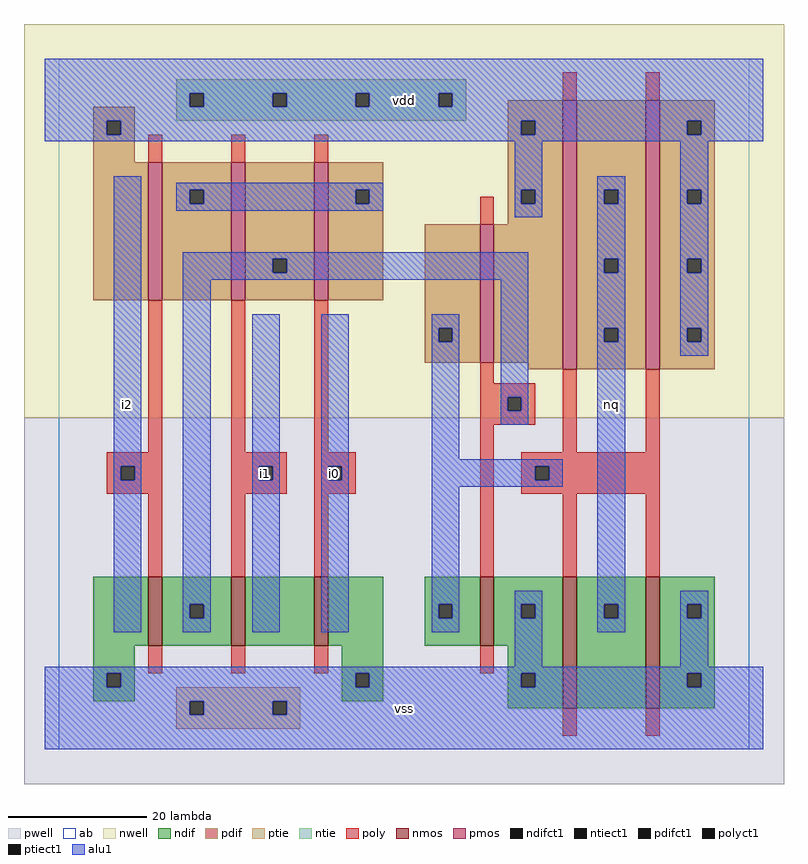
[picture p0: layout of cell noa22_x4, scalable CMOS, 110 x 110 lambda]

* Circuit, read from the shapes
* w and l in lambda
.subckt noa22_x4 i0 i1 i2 nq vdd vss
M1 n1 i2 vss vss nfet w=10 l=2
M2 n2 i1 n1 vss nfet w=10 l=2
M3 vss i0 n2 vss nfet w=10 l=2
M4 vss n1 n3 vss nfet w=10 l=2
M5 nq n3 vss vss nfet w=19 l=2 m=2
M6 n4 i2 vdd vdd pfet w=20 l=2
M7 n1 i1 n4 vdd pfet w=20 l=2
M8 n4 i0 n1 vdd pfet w=20 l=2
M9 vdd n1 n3 vdd pfet w=20 l=2
M10 nq n3 vdd vdd pfet w=39 l=2 m=2
.ends

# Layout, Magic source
magic
tech scmos
<< ab >>
rect 0 0 100 100
<< nwell >>
rect -5 48 105 105
<< pwell >>
rect -5 -5 105 48
<< poly >>
rect 73 94 75 98
rect 85 94 87 98
rect 13 85 15 89
rect 25 85 27 89
rect 37 85 39 89
rect 61 76 63 80
rect 13 43 15 65
rect 7 41 15 43
rect 7 39 9 41
rect 11 39 15 41
rect 7 37 15 39
rect 13 25 15 37
rect 25 43 27 65
rect 37 43 39 65
rect 61 53 63 56
rect 61 51 69 53
rect 61 49 65 51
rect 67 49 69 51
rect 61 47 69 49
rect 25 41 33 43
rect 25 39 29 41
rect 31 39 33 41
rect 25 37 33 39
rect 37 41 43 43
rect 37 39 39 41
rect 41 39 43 41
rect 37 37 43 39
rect 25 25 27 37
rect 37 25 39 37
rect 61 25 63 47
rect 73 43 75 55
rect 85 43 87 55
rect 67 41 87 43
rect 67 39 69 41
rect 71 39 87 41
rect 67 37 87 39
rect 73 25 75 37
rect 85 25 87 37
rect 13 11 15 15
rect 25 11 27 15
rect 37 11 39 15
rect 61 11 63 15
rect 73 2 75 6
rect 85 2 87 6
<< ndif >>
rect 5 15 13 25
rect 15 21 25 25
rect 15 19 19 21
rect 21 19 25 21
rect 15 15 25 19
rect 27 15 37 25
rect 39 15 47 25
rect 53 21 61 25
rect 53 19 55 21
rect 57 19 61 21
rect 53 15 61 19
rect 63 21 73 25
rect 63 19 67 21
rect 69 19 73 21
rect 63 15 73 19
rect 5 11 11 15
rect 41 11 47 15
rect 65 11 73 15
rect 5 9 7 11
rect 9 9 11 11
rect 41 9 43 11
rect 45 9 47 11
rect 5 7 11 9
rect 41 7 47 9
rect 65 9 67 11
rect 69 9 73 11
rect 65 6 73 9
rect 75 21 85 25
rect 75 19 79 21
rect 81 19 85 21
rect 75 6 85 19
rect 87 21 95 25
rect 87 19 91 21
rect 93 19 95 21
rect 87 11 95 19
rect 87 9 91 11
rect 93 9 95 11
rect 87 6 95 9
<< pdif >>
rect 5 91 11 93
rect 65 91 73 94
rect 5 89 7 91
rect 9 89 11 91
rect 65 89 67 91
rect 69 89 73 91
rect 5 85 11 89
rect 5 65 13 85
rect 15 81 25 85
rect 15 79 19 81
rect 21 79 25 81
rect 15 65 25 79
rect 27 71 37 85
rect 27 69 31 71
rect 33 69 37 71
rect 27 65 37 69
rect 39 81 47 85
rect 39 79 43 81
rect 45 79 47 81
rect 65 81 73 89
rect 39 65 47 79
rect 65 79 67 81
rect 69 79 73 81
rect 65 76 73 79
rect 53 61 61 76
rect 53 59 55 61
rect 57 59 61 61
rect 53 56 61 59
rect 63 56 73 76
rect 68 55 73 56
rect 75 81 85 94
rect 75 79 79 81
rect 81 79 85 81
rect 75 71 85 79
rect 75 69 79 71
rect 81 69 85 71
rect 75 61 85 69
rect 75 59 79 61
rect 81 59 85 61
rect 75 55 85 59
rect 87 91 95 94
rect 87 89 91 91
rect 93 89 95 91
rect 87 81 95 89
rect 87 79 91 81
rect 93 79 95 81
rect 87 71 95 79
rect 87 69 91 71
rect 93 69 95 71
rect 87 61 95 69
rect 87 59 91 61
rect 93 59 95 61
rect 87 55 95 59
<< alu1 >>
rect -2 95 102 100
rect -2 93 19 95
rect 21 93 31 95
rect 33 93 43 95
rect 45 93 55 95
rect 57 93 102 95
rect -2 91 102 93
rect -2 89 7 91
rect 9 89 67 91
rect 69 89 91 91
rect 93 89 102 91
rect -2 88 102 89
rect 8 41 12 83
rect 17 81 47 82
rect 17 79 19 81
rect 21 79 43 81
rect 45 79 47 81
rect 17 78 47 79
rect 66 81 70 88
rect 66 79 67 81
rect 69 79 70 81
rect 66 77 70 79
rect 78 81 82 83
rect 78 79 79 81
rect 81 79 82 81
rect 8 39 9 41
rect 11 39 12 41
rect 8 17 12 39
rect 18 71 68 72
rect 18 69 31 71
rect 33 69 68 71
rect 18 68 68 69
rect 18 21 22 68
rect 18 19 19 21
rect 21 19 22 21
rect 18 17 22 19
rect 28 41 32 63
rect 28 39 29 41
rect 31 39 32 41
rect 28 17 32 39
rect 38 41 42 63
rect 38 39 39 41
rect 41 39 42 41
rect 38 17 42 39
rect 54 61 58 63
rect 54 59 55 61
rect 57 59 58 61
rect 54 42 58 59
rect 64 51 68 68
rect 64 49 65 51
rect 67 49 68 51
rect 64 47 68 49
rect 78 71 82 79
rect 78 69 79 71
rect 81 69 82 71
rect 78 61 82 69
rect 78 59 79 61
rect 81 59 82 61
rect 54 41 73 42
rect 54 39 69 41
rect 71 39 73 41
rect 54 38 73 39
rect 54 21 58 38
rect 54 19 55 21
rect 57 19 58 21
rect 54 17 58 19
rect 66 21 70 23
rect 66 19 67 21
rect 69 19 70 21
rect 66 12 70 19
rect 78 21 82 59
rect 90 81 94 88
rect 90 79 91 81
rect 93 79 94 81
rect 90 71 94 79
rect 90 69 91 71
rect 93 69 94 71
rect 90 61 94 69
rect 90 59 91 61
rect 93 59 94 61
rect 90 57 94 59
rect 78 19 79 21
rect 81 19 82 21
rect 78 17 82 19
rect 90 21 94 23
rect 90 19 91 21
rect 93 19 94 21
rect 90 12 94 19
rect -2 11 102 12
rect -2 9 7 11
rect 9 9 43 11
rect 45 9 67 11
rect 69 9 91 11
rect 93 9 102 11
rect -2 7 102 9
rect -2 5 19 7
rect 21 5 31 7
rect 33 5 102 7
rect -2 0 102 5
<< ptie >>
rect 17 7 35 9
rect 17 5 19 7
rect 21 5 31 7
rect 33 5 35 7
rect 17 3 35 5
<< ntie >>
rect 17 95 59 97
rect 17 93 19 95
rect 21 93 31 95
rect 33 93 43 95
rect 45 93 55 95
rect 57 93 59 95
rect 17 91 59 93
<< nmos >>
rect 13 15 15 25
rect 25 15 27 25
rect 37 15 39 25
rect 61 15 63 25
rect 73 6 75 25
rect 85 6 87 25
<< pmos >>
rect 13 65 15 85
rect 25 65 27 85
rect 37 65 39 85
rect 61 56 63 76
rect 73 55 75 94
rect 85 55 87 94
<< polyct1 >>
rect 9 39 11 41
rect 65 49 67 51
rect 29 39 31 41
rect 39 39 41 41
rect 69 39 71 41
<< ndifct1 >>
rect 19 19 21 21
rect 55 19 57 21
rect 67 19 69 21
rect 7 9 9 11
rect 43 9 45 11
rect 67 9 69 11
rect 79 19 81 21
rect 91 19 93 21
rect 91 9 93 11
<< ntiect1 >>
rect 19 93 21 95
rect 31 93 33 95
rect 43 93 45 95
rect 55 93 57 95
<< ptiect1 >>
rect 19 5 21 7
rect 31 5 33 7
<< pdifct1 >>
rect 7 89 9 91
rect 67 89 69 91
rect 19 79 21 81
rect 31 69 33 71
rect 43 79 45 81
rect 67 79 69 81
rect 55 59 57 61
rect 79 79 81 81
rect 79 69 81 71
rect 79 59 81 61
rect 91 89 93 91
rect 91 79 93 81
rect 91 69 93 71
rect 91 59 93 61
<< labels >>
rlabel alu1 10 50 10 50 6 i2
rlabel polyct1 40 40 40 40 6 i0
rlabel polyct1 30 40 30 40 6 i1
rlabel alu1 50 6 50 6 6 vss
rlabel alu1 50 94 50 94 6 vdd
rlabel alu1 80 50 80 50 6 nq
<< end >>
